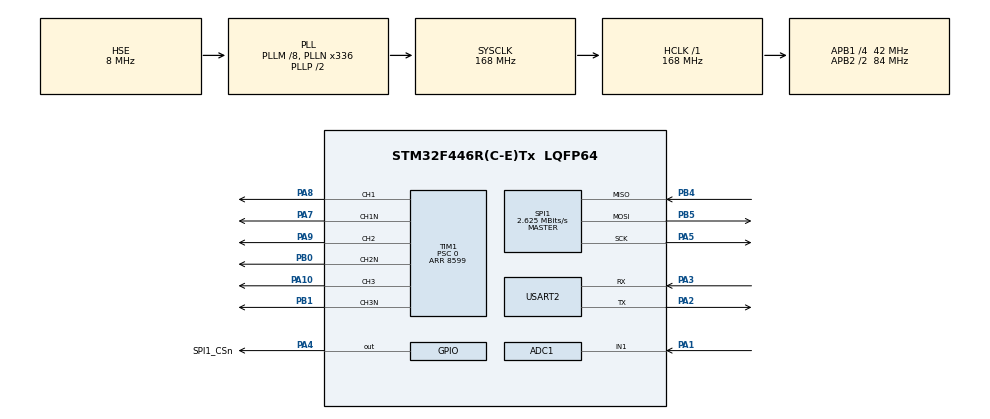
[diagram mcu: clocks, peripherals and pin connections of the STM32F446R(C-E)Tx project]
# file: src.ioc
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ADC1.Channel-0\#ChannelRegularConversion=ADC_CHANNEL_1
ADC1.Channel-IN1=ADC_CHANNEL_1
ADC1.ClockPrescaler=ADC_CLOCK_SYNC_PCLK_DIV4
ADC1.ContinuousConvMode=ENABLE
ADC1.DMAContinuousRequests=DISABLE
ADC1.DataAlign=ADC_DATAALIGN_RIGHT
ADC1.DiscontinuousConvMode=DISABLE
ADC1.EOCSelection=ADC_EOC_SINGLE_CONV
ADC1.ExternalTrigConv=ADC_SOFTWARE_START
ADC1.ExternalTrigConvEdge=ADC_EXTERNALTRIGCONVEDGE_NONE
ADC1.NbrOfConversion=1
ADC1.Rank-0\#ChannelRegularConversion=1
ADC1.Resolution=ADC_RESOLUTION_12B
ADC1.master=1
Dma.Request0=TIM1_CH1
Dma.Request1=TIM1_CH2
Dma.Request2=TIM1_CH3
Dma.TIM1_CH1.0.Direction=DMA_MEMORY_TO_PERIPH
Dma.TIM1_CH1.0.FIFOMode=DMA_FIFOMODE_DISABLE
Dma.TIM1_CH1.0.Instance=DMA2_Stream1
Dma.TIM1_CH1.0.MemDataAlignment=DMA_MDATAALIGN_HALFWORD
Dma.TIM1_CH1.0.MemInc=DMA_MINC_ENABLE
Dma.TIM1_CH1.0.Mode=DMA_CIRCULAR
Dma.TIM1_CH1.0.PeriphDataAlignment=DMA_PDATAALIGN_HALFWORD
Dma.TIM1_CH1.0.PeriphInc=DMA_PINC_DISABLE
Dma.TIM1_CH1.0.Priority=DMA_PRIORITY_HIGH
Dma.TIM1_CH2.1.Direction=DMA_MEMORY_TO_PERIPH
Dma.TIM1_CH2.1.FIFOMode=DMA_FIFOMODE_DISABLE
Dma.TIM1_CH2.1.Instance=DMA2_Stream2
Dma.TIM1_CH2.1.MemDataAlignment=DMA_MDATAALIGN_HALFWORD
Dma.TIM1_CH2.1.MemInc=DMA_MINC_ENABLE
Dma.TIM1_CH2.1.Mode=DMA_CIRCULAR
Dma.TIM1_CH2.1.PeriphDataAlignment=DMA_PDATAALIGN_HALFWORD
Dma.TIM1_CH2.1.PeriphInc=DMA_PINC_DISABLE
Dma.TIM1_CH2.1.Priority=DMA_PRIORITY_HIGH
Dma.TIM1_CH3.2.Direction=DMA_MEMORY_TO_PERIPH
Dma.TIM1_CH3.2.FIFOMode=DMA_FIFOMODE_DISABLE
Dma.TIM1_CH3.2.Instance=DMA2_Stream6
Dma.TIM1_CH3.2.MemDataAlignment=DMA_MDATAALIGN_HALFWORD
Dma.TIM1_CH3.2.MemInc=DMA_MINC_ENABLE
Dma.TIM1_CH3.2.Mode=DMA_CIRCULAR
Dma.TIM1_CH3.2.PeriphDataAlignment=DMA_PDATAALIGN_HALFWORD
Dma.TIM1_CH3.2.PeriphInc=DMA_PINC_DISABLE
Dma.TIM1_CH3.2.Priority=DMA_PRIORITY_HIGH
Mcu.Family=STM32F4
Mcu.Name=STM32F446R(C-E)Tx
Mcu.Package=LQFP64
NVIC.DMA2_Stream1_IRQn=true\:0\:0\:false\:false\:true\:false\:true\:true
NVIC.DMA2_Stream2_IRQn=true\:0\:0\:false\:false\:true\:false\:true\:true
NVIC.DMA2_Stream6_IRQn=true\:0\:0\:false\:false\:true\:false\:true\:true
NVIC.PriorityGroup=NVIC_PRIORITYGROUP_4
PA1.Signal=ADCx_IN1
PA10.Signal=S_TIM1_CH3
PA13.GPIO_Label=T_SWDIO
PA13.Mode=Serial_Wire
PA13.Signal=SYS_JTMS-SWDIO
PA14.GPIO_Label=T_SWCLK
PA14.Mode=Serial_Wire
PA14.Signal=SYS_JTCK-SWCLK
PA2.Mode=Asynchronous
PA2.Signal=USART2_TX
PA3.Mode=Asynchronous
PA3.Signal=USART2_RX
PA4.GPIO_Label=SPI1_CSn
PA4.PinState=GPIO_PIN_SET
PA4.Signal=GPIO_Output
PA5.Mode=Full_Duplex_Master
PA5.Signal=SPI1_SCK
PA7.Mode=PWM Generation1 CH1 CH1N
PA7.Signal=TIM1_CH1N
PA8.Signal=S_TIM1_CH1
PA9.Signal=S_TIM1_CH2
PB0.Mode=PWM Generation2 CH2 CH2N
PB0.Signal=TIM1_CH2N
PB1.Mode=PWM Generation3 CH3 CH3N
PB1.Signal=TIM1_CH3N
PB3.GPIO_Label=T_SWO
PB3.Signal=SYS_JTDO-SWO
PB4.Mode=Full_Duplex_Master
PB4.Signal=SPI1_MISO
PB5.Mode=Full_Duplex_Master
PB5.Signal=SPI1_MOSI
PH0-OSC_IN.Mode=HSE-External-Clock-Source
PH0-OSC_IN.Signal=RCC_OSC_IN
PH1-OSC_OUT.Mode=HSE-External-Clock-Source
PH1-OSC_OUT.Signal=RCC_OSC_OUT
ProjectManager.HeapSize=0x200
ProjectManager.StackSize=0x400
ProjectManager.TargetToolchain=STM32CubeIDE
RCC.AHBFreq_Value=168000000
RCC.APB1CLKDivider=RCC_HCLK_DIV4
RCC.APB1Freq_Value=42000000
RCC.APB1TimFreq_Value=84000000
RCC.APB2CLKDivider=RCC_HCLK_DIV2
RCC.APB2Freq_Value=84000000
RCC.APB2TimFreq_Value=168000000
RCC.CodegenConfigPeriph=true
RCC.CortexFreq_Value=168000000
RCC.FLatency=FLASH_LATENCY_5
RCC.HCLKFreq_Value=168000000
RCC.HSE_VALUE=8000000
RCC.LSE_Drive_CapabilityArg=+LSE_Drive_Capability
RCC.PLLM=8
RCC.PLLN=336
RCC.PLLSourceVirtual=RCC_PLLSOURCE_HSE
RCC.PREFETCH_ENABLE=0
RCC.SYSCLKFreq_VALUE=168000000
RCC.SYSCLKSource=RCC_SYSCLKSOURCE_PLLCLK
RCC.USBFreq_Value=168000000
RCC.VCOOutputFreq_Value=336000000
SH.ADCx_IN1.0=ADC1_IN1,IN1
SH.S_TIM1_CH1.0=TIM1_CH1,PWM Generation1 CH1 CH1N
SH.S_TIM1_CH2.0=TIM1_CH2,PWM Generation2 CH2 CH2N
SH.S_TIM1_CH3.0=TIM1_CH3,PWM Generation3 CH3 CH3N
SPI1.BaudRatePrescaler=SPI_BAUDRATEPRESCALER_32
SPI1.CLKPhase=SPI_PHASE_2EDGE
SPI1.CLKPolarity=SPI_POLARITY_LOW
SPI1.CRCCalculation=SPI_CRCCALCULATION_DISABLE
SPI1.CalculateBaudRate=2.625 MBits/s
SPI1.DataSize=SPI_DATASIZE_16BIT
SPI1.Direction=SPI_DIRECTION_2LINES
SPI1.FirstBit=SPI_FIRSTBIT_MSB
SPI1.Mode=SPI_MODE_MASTER
SPI1.NSS=SPI_NSS_SOFT
SPI1.TIMode=SPI_TIMODE_DISABLE
SPI1.VirtualType=VM_MASTER
TIM1.AutoReloadPreload=TIM_AUTORELOAD_PRELOAD_DISABLE
TIM1.AutomaticOutput=TIM_AUTOMATICOUTPUT_ENABLE
TIM1.BreakPolarity=TIM_BREAKPOLARITY_HIGH
TIM1.BreakState=TIM_BREAK_DISABLE
TIM1.Channel-PWM\ Generation1\ CH1\ CH1N=TIM_CHANNEL_1
TIM1.Channel-PWM\ Generation2\ CH2\ CH2N=TIM_CHANNEL_2
TIM1.Channel-PWM\ Generation3\ CH3\ CH3N=TIM_CHANNEL_3
TIM1.ClockDivision=TIM_CLOCKDIVISION_DIV1
TIM1.CounterMode=TIM_COUNTERMODE_CENTERALIGNED1
TIM1.DeadTime=100
TIM1.LockLevel=TIM_LOCKLEVEL_OFF
TIM1.OC1Preload_PWM=ENABLE
TIM1.OC2Preload_PWM=ENABLE
TIM1.OC3Preload_PWM=ENABLE
TIM1.OCFastMode_PWM-PWM\ Generation1\ CH1\ CH1N=TIM_OCFAST_DISABLE
TIM1.OCFastMode_PWM-PWM\ Generation2\ CH2\ CH2N=TIM_OCFAST_DISABLE
TIM1.OCFastMode_PWM-PWM\ Generation3\ CH3\ CH3N=TIM_OCFAST_DISABLE
TIM1.OCIdleState_1=TIM_OCIDLESTATE_RESET
TIM1.OCIdleState_2=TIM_OCIDLESTATE_RESET
TIM1.OCIdleState_3=TIM_OCIDLESTATE_RESET
TIM1.OCMode_PWM-PWM\ Generation1\ CH1\ CH1N=TIM_OCMODE_PWM1
TIM1.OCMode_PWM-PWM\ Generation2\ CH2\ CH2N=TIM_OCMODE_PWM1
TIM1.OCMode_PWM-PWM\ Generation3\ CH3\ CH3N=TIM_OCMODE_PWM1
TIM1.OCNIdleState_1=TIM_OCNIDLESTATE_RESET
TIM1.OCNIdleState_2=TIM_OCNIDLESTATE_RESET
TIM1.OCNIdleState_3=TIM_OCNIDLESTATE_RESET
TIM1.OCNPolarity_1=TIM_OCNPOLARITY_HIGH
TIM1.OCNPolarity_2=TIM_OCNPOLARITY_HIGH
TIM1.OCNPolarity_3=TIM_OCNPOLARITY_HIGH
TIM1.OCPolarity_1=TIM_OCPOLARITY_HIGH
TIM1.OCPolarity_2=TIM_OCPOLARITY_HIGH
TIM1.OCPolarity_3=TIM_OCPOLARITY_HIGH
TIM1.OffStateIDLEMode=TIM_OSSI_ENABLE
TIM1.OffStateRunMode=TIM_OSSR_ENABLE
TIM1.Period=8599
TIM1.Prescaler=0
TIM1.Pulse-PWM\ Generation1\ CH1\ CH1N=1
TIM1.Pulse-PWM\ Generation2\ CH2\ CH2N=1
TIM1.Pulse-PWM\ Generation3\ CH3\ CH3N=1
TIM1.RepetitionCounter=1
TIM1.TIM_MasterOutputTrigger=TIM_TRGO_RESET
TIM1.TIM_MasterSlaveMode=TIM_MASTERSLAVEMODE_DISABLE
USART2.VirtualMode=VM_ASYNC
VP_TIM1_VS_ClockSourceINT.Mode=Internal
board=custom

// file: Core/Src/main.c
/* USER CODE BEGIN Header */
/**
  ******************************************************************************
  * @file           : main.c
  * @brief          : Main program body
  ******************************************************************************
  * @attention
  *
  * Copyright (c) 2026 STMicroelectronics.
  * All rights reserved.
  *
  * This software is licensed under terms that can be found in the LICENSE file
  * in the root directory of this software component.
  * If no LICENSE file comes with this software, it is provided AS-IS.
  *
  ******************************************************************************
  */
/* USER CODE END Header */
#include "main.h"
#include "adc.h"
#include "dma.h"
#include "spi.h"
#include "tim.h"
#include "usart.h"
#include "gpio.h"

/* USER CODE BEGIN Includes */
#include "as5048a.h"
#include "sine_lut.h"
#include <stdio.h>
/* USER CODE END Includes */

/* USER CODE BEGIN PD */
#define POT_ADC_MAX        	4095.0f

// calculating Freq hz ===> mechanical rpm * pole pairs / 60
#define FREQ_MIN_HZ         5.0f
#define FREQ_MAX_HZ			85.6f  			// nominal RPM is
#define TIM1_CLOCK_HZ    	168000000.0f 	//set by clock config in stm32, make sure to change if you change the clock speed
/* USER CODE END PD */

/* USER CODE BEGIN PV */

// absolute motor encoder resolver
AS5048A_HandleTypeDef encoder1;

//speed control input potentiometer
volatile uint16_t pot_raw = 0;

/* USER CODE END PV */

void SystemClock_Config(void);
/* USER CODE BEGIN PFP */

void UpdateSpeedFromPot(void);
uint16_t get_pot_val(void);

/* USER CODE END PFP */

int main(void)
{

  /* USER CODE BEGIN 1 */
  /* NOTHING TIM1/DMA-related here. htim1 does not exist yet --
   * MX_TIM1_Init() has not run. All PWM/DMA start calls moved to
   * USER CODE BEGIN 2, after every MX_*_Init() has completed. */
  /* USER CODE END 1 */

  /* MCU Configuration--------------------------------------------------------*/

  /* Reset of all peripherals, Initializes the Flash interface and the Systick. */
  HAL_Init();

  /* Configure the system clock */
  SystemClock_Config();

  /* Initialize all configured peripherals */
  MX_GPIO_Init();
  MX_DMA_Init();
  MX_ADC1_Init();
  MX_SPI1_Init();
  MX_TIM1_Init();
  MX_USART2_UART_Init();
  /* USER CODE BEGIN 2 */

  // start the absolute encoder on the motor for feedback loop control
  AS5048A_Init(&encoder1, &hspi1, SPI1_CSn_GPIO_Port, SPI1_CSn_Pin);
  AS5048A_ClearErrorFlag(&encoder1, NULL);

  //this starts up the potentiometer DMA, technically this could be a blocking function in the main loop, but why not free up the CPU for other shit?
  // start the DMA for the potentiometer for speed control setting
  HAL_ADC_Start_DMA(&hadc1, (uint32_t*)&pot_raw, 1);

  // this starts up the DMA's for the sine lookup tables
  //each DMA on each channel corresponds to phase A, B, C
  HAL_StatusTypeDef dma_status;

  dma_status = HAL_TIM_PWM_Start_DMA(&htim1, TIM_CHANNEL_1, (uint32_t*)sine_lut_a, LUT_SIZE);
  if (dma_status != HAL_OK) { Error_Handler(); }

  dma_status = HAL_TIM_PWM_Start_DMA(&htim1, TIM_CHANNEL_2, (uint32_t*)sine_lut_b, LUT_SIZE);
  if (dma_status != HAL_OK) { Error_Handler(); }

  dma_status = HAL_TIM_PWM_Start_DMA(&htim1, TIM_CHANNEL_3, (uint32_t*)sine_lut_c, LUT_SIZE);
  if (dma_status != HAL_OK) { Error_Handler(); }

  HAL_TIMEx_PWMN_Start(&htim1, TIM_CHANNEL_1);
  HAL_TIMEx_PWMN_Start(&htim1, TIM_CHANNEL_2);
  HAL_TIMEx_PWMN_Start(&htim1, TIM_CHANNEL_3);

  /* --code just to see the PWM output with no SPWM or DMA garbage
  __HAL_TIM_SET_COMPARE(&htim1, TIM_CHANNEL_1, 4300);
  __HAL_TIM_SET_COMPARE(&htim1, TIM_CHANNEL_2, 4300);
  __HAL_TIM_SET_COMPARE(&htim1, TIM_CHANNEL_3, 4300);

  HAL_TIM_PWM_Start(&htim1, TIM_CHANNEL_1);
  HAL_TIM_PWM_Start(&htim1, TIM_CHANNEL_2);
  HAL_TIM_PWM_Start(&htim1, TIM_CHANNEL_3);

  */

  /* USER CODE END 2 */

  /* Infinite loop */
  /* USER CODE BEGIN WHILE */
  AS5048A_AngleTypeDef angle;

  while (1)
  {

	/*
    if (AS5048A_ReadAngle(&encoder1, &angle))
    {
      if (!angle.parity_ok)
      {
        printf("AS5048A: parity error, discarding sample\r\n");
      }
      else
      {
        printf("raw=%5u  angle=%7.2f deg  err_flag=%d\r\n",
               angle.raw_angle, angle.angle_deg, angle.error_flag);
      }
    }
    else
    {
      printf("AS5048A: SPI transfer failed (check wiring/CS pin)\r\n");
    }
	*/
	//pot_raw = get_pot_val();
    //UpdateSpeedFromPot();

    HAL_Delay(100);

    /* USER CODE END WHILE */

  }
}

void SystemClock_Config(void)
{
  RCC_OscInitTypeDef RCC_OscInitStruct = {0};
  RCC_ClkInitTypeDef RCC_ClkInitStruct = {0};

  /** Configure the main internal regulator output voltage
  */
  __HAL_RCC_PWR_CLK_ENABLE();
  __HAL_PWR_VOLTAGESCALING_CONFIG(PWR_REGULATOR_VOLTAGE_SCALE1);

  /** Initializes the RCC Oscillators according to the specified parameters
  * in the RCC_OscInitTypeDef structure.
  */
  RCC_OscInitStruct.OscillatorType = RCC_OSCILLATORTYPE_HSE;
  RCC_OscInitStruct.HSEState = RCC_HSE_BYPASS;
  RCC_OscInitStruct.PLL.PLLState = RCC_PLL_ON;
  RCC_OscInitStruct.PLL.PLLSource = RCC_PLLSOURCE_HSE;
  RCC_OscInitStruct.PLL.PLLM = 8;
  RCC_OscInitStruct.PLL.PLLN = 336;
  RCC_OscInitStruct.PLL.PLLP = RCC_PLLP_DIV2;
  RCC_OscInitStruct.PLL.PLLQ = 2;
  RCC_OscInitStruct.PLL.PLLR = 2;
  if (HAL_RCC_OscConfig(&RCC_OscInitStruct) != HAL_OK)
  {
    Error_Handler();
  }

  /** Initializes the CPU, AHB and APB buses clocks
  */
  RCC_ClkInitStruct.ClockType = RCC_CLOCKTYPE_HCLK|RCC_CLOCKTYPE_SYSCLK
                              |RCC_CLOCKTYPE_PCLK1|RCC_CLOCKTYPE_PCLK2;
  RCC_ClkInitStruct.SYSCLKSource = RCC_SYSCLKSOURCE_PLLCLK;
  RCC_ClkInitStruct.AHBCLKDivider = RCC_SYSCLK_DIV1;
  RCC_ClkInitStruct.APB1CLKDivider = RCC_HCLK_DIV4;
  RCC_ClkInitStruct.APB2CLKDivider = RCC_HCLK_DIV2;

  if (HAL_RCC_ClockConfig(&RCC_ClkInitStruct, FLASH_LATENCY_5) != HAL_OK)
  {
    Error_Handler();
  }
}

/* USER CODE BEGIN 4 */
#ifdef __GNUC__
int _write(int file, char *ptr, int len)
{
    HAL_UART_Transmit(&huart2, (uint8_t *)ptr, len, HAL_MAX_DELAY);
    return len;
}
#endif

uint16_t get_pot_val(void)
{
    HAL_ADC_Start(&hadc1);
    HAL_ADC_PollForConversion(&hadc1, 10);
    uint16_t val = HAL_ADC_GetValue(&hadc1);
    HAL_ADC_Stop(&hadc1);
    return val;
}

void UpdateSpeedFromPot(void) {

	float pot_frac = pot_raw / POT_ADC_MAX;
	float target_freq_hz = FREQ_MIN_HZ + pot_frac * (FREQ_MAX_HZ - FREQ_MIN_HZ);
	float update_rate_hz = target_freq_hz * LUT_SIZE;

	//we basically are manipulating the prescalar value in TIM1 as a way to manipulate the speed in which we step through the LUT
	uint32_t new_psc = (uint32_t)(TIM1_CLOCK_HZ /
	                    (update_rate_hz * (htim1.Init.Period + 1) * 2)) - 1;

	//if the register on the ADC is fucked up, just default to
	if (new_psc > 65535) {
		new_psc = 65535;
	}

	__HAL_TIM_SET_PRESCALER(&htim1, new_psc);
}

/* USER CODE END 4 */

void Error_Handler(void)
{
  __disable_irq();
  while (1)
  {
  }
}
